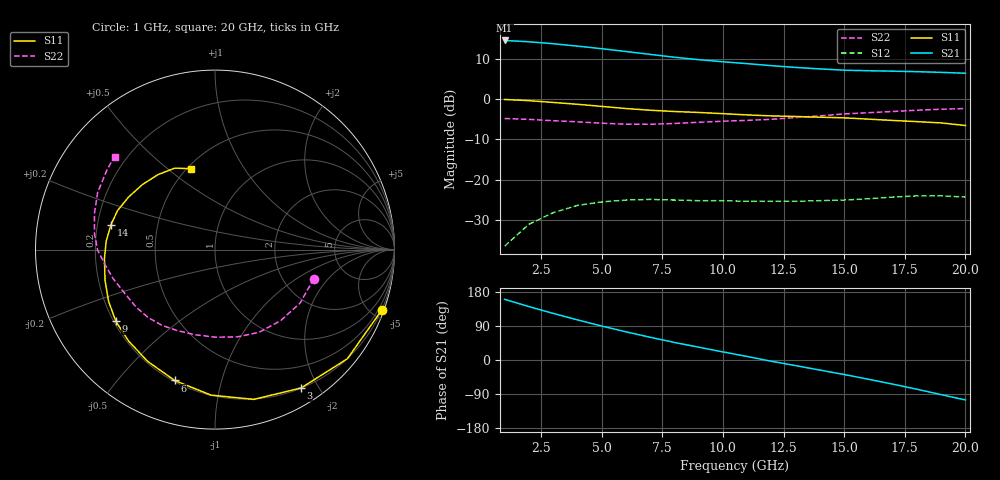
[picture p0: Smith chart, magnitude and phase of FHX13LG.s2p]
# MHz S MA R 50
!FREQUENCY MAG(S11)ANG(S11) MAG(S21)ANG(S21) MAG(S12)ANG(S12) MAG(S22)ANG(S22)
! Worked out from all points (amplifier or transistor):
!   20 points, 1 GHz to 20 GHz, reference 50 ohm
!   highest |S21| = 14.5 dB at 1 GHz (marker M1)
!   |S21| within 3 dB of that: start of sweep to 6.368 GHz
!   unconditionally stable (mu >= 1): 8.648 GHz to 17.52 GHz; 19.64 GHz to end of sweep
!   at 4 GHz: K = 0.44, MSG = 19.8 dB, |S12| = -26.4 dB
!   at 11 GHz: K = 1.24, MAG = 14.1 dB, |S12| = -25.4 dB
!   at 20 GHz: K = 1.04, MAG = 14.1 dB, |S12| = -24.3 dB
!   S11 on the Smith chart (normalised r, x): 1 GHz: 0.20, -5.66; 3 GHz: 0.20, -1.78; 6 GHz: 0.21, -0.72; 9 GHz: 0.21, -0.31; 14 GHz: 0.26, +0.11; 20 GHz: 0.52, +0.61
1000  0.988 -20.0  5.327 160.1  0.015 75.7  0.574 -16.3
2000  0.956 -39.5  5.133 141.0  0.028 63.3  0.56 -32.1
3000  0.908 -58.1  4.851 123.0  0.039 50.1  0.539 -47.3
4000  0.862 -75.5  4.534 105.9  0.048 39.0  0.522 -62.0
5000  0.811 -91.6  4.213 89.7  0.053 29.3  0.502 -75.6
6000  0.763 -107.1  3.886 74.4  0.056 21.0  0.488 -89.6
7000  0.727 -121.1  3.582 60.0  0.057 13.2  0.487 -103.0
8000  0.701 -133.3  3.3 46.4  0.056 7.9  0.498 -114.9
9000  0.682 -144.1  3.078 33.8  0.055 3.5  0.515 -125.0
10000  0.659 -154.2  2.899 21.4  0.055 -0.0  0.531 -134.4
11000  0.636 -164.4  2.748 9.3  0.054 -2.6  0.544 -144.0
12000  0.618 -175.4  2.593 -3.3  0.054 -5.2  0.561 -155.1
13000  0.608 175.5  2.466 -14.8  0.054 -5.7  0.59 -164.0
14000  0.596 166.6  2.366 -26.6  0.055 -7.8  0.619 -172.4
15000  0.585 158.3  2.279 -38.3  0.056 -9.7  0.654 -179.7
16000  0.564 148.8  2.244 -50.7  0.058 -12.8  0.677 172.6
17000  0.543 138.2  2.217 -63.6  0.061 -17.6  0.701 163.4
18000  0.525 127.3  2.185 -77.1  0.063 -24.7  0.727 154.1
19000  0.506 116.2  2.143 -91.4  0.063 -33.1  0.748 143.6
20000  0.47 106.5  2.089 -105.4  0.061 -43.7  0.763 137.2
